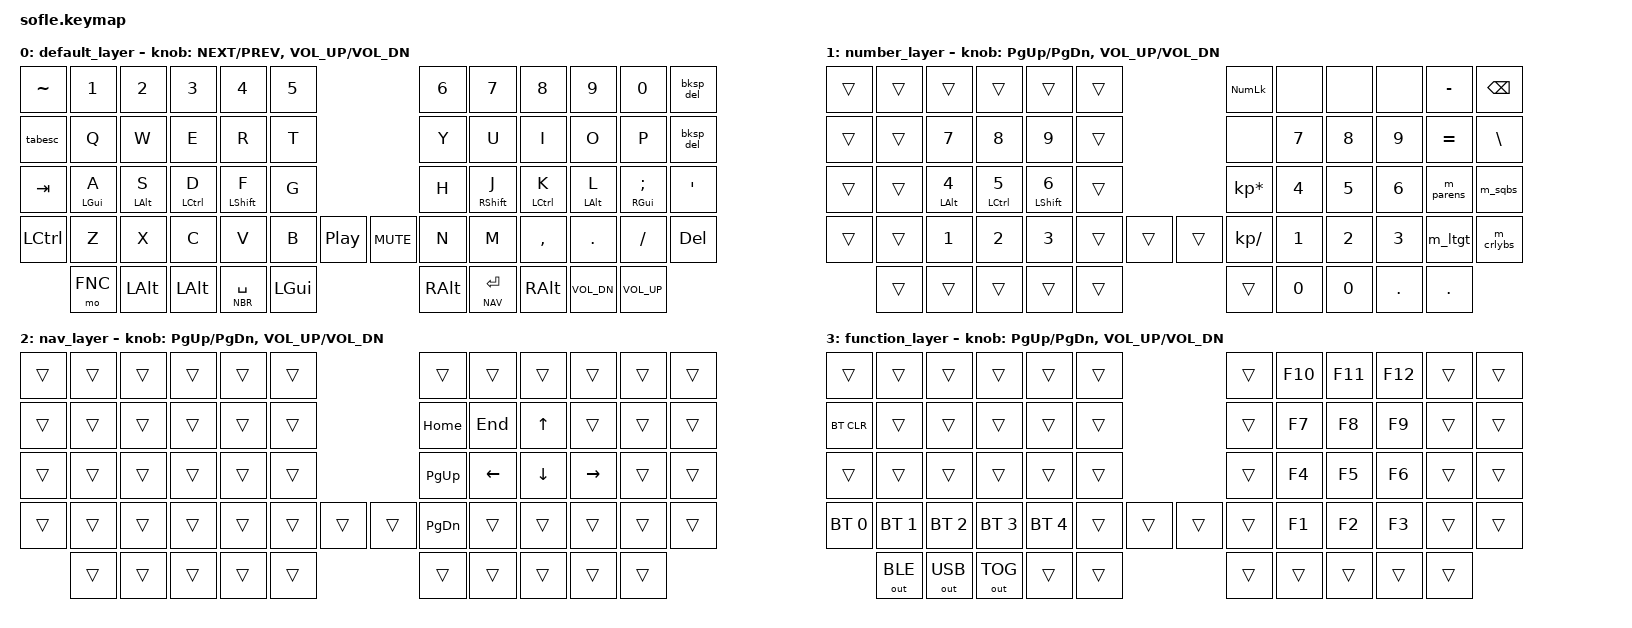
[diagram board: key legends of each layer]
/*
 * Copyright (c) 2022 The ZMK Contributors
 *
 * SPDX-License-Identifier: MIT
 */

#include <behaviors.dtsi>
#include <dt-bindings/zmk/keys.h>
#include <dt-bindings/zmk/bt.h>
#include <dt-bindings/zmk/outputs.h>
#include <behaviors/num_word.dtsi>

#define DEF 0
#define NBR 1
#define NAV 2
#define FNC 3

#define KEYS_L 0 1 3 4 5 12 13 14 15 16 17 24 25 26 27 28 29 36 37 38 39 40 41 42
#define KEYS_R 6 7 8 9 10 11 18 19 20 21 22 23 30 31 32 33 34 35 43 44 45 46 47 48 49
#define KEYS_T 50 51 52 53 54 55 56 57 58 59
#define KEYS_SH 0 2 5 25 26 27 28 

#define HM_TAPPING_TERM 150
#define HM_TAPPING_TERM_FAST 100
#define HM_PRIOR_IDLE 150


/ {
	behaviors {

		td_cw: tap_dance_cw {
            compatible = "zmk,behavior-tap-dance";
            #binding-cells = <0>;
            tapping-term-ms = <200>;
            bindings = <&mt LSHIFT &caps_word>, <&kp CAPS>;
        };	
		
		tabesc: tab_escape {
            compatible = "zmk,behavior-mod-morph";
            #binding-cells = <0>;
            bindings = <&kp TAB>, <&kp ESC>;
            mods = <(MOD_LSFT|MOD_RSFT)>;
        };
		
		bksp_del: bksp_del {
            compatible = "zmk,behavior-mod-morph";
            #binding-cells = <0>;
            bindings = <&kp BKSP>, <&kp DEL>;
            mods = <(MOD_LSFT|MOD_RSFT)>;
        };

        // Positional Homerow mods
        // Homerow mods that prevent accidental activations when rolling keys,
        // such as when typing `st` or `ne` on colemak-dh layouts or `as` on
        // qwerty.
        //
        // Works by only allowing a mod to activate within tapping-term if
        // it's on the opposite side of the keyboard or on the same side thumb
        // keys.

        // Further optimization using urob's timerless homerow mods method:
        // https://github.com/urob/zmk-config#timeless-homerow-mods

        hm_l: homerow_mods_left {
            compatible = "zmk,behavior-hold-tap";
            #binding-cells = <2>;
            bindings = <&kp>,  <&kp>;

            flavor = "tap-preferred";
            tapping-term-ms = <HM_TAPPING_TERM>;
            quick-tap-ms = <175>;                // repeat on tap-into-hold
            require-prior-idle-ms = <HM_PRIOR_IDLE>;

            hold-trigger-key-positions = <KEYS_R KEYS_T KEYS_SH 14>;
            hold-trigger-on-release;
        };

        hm_r: homerow_mods_right {
            compatible = "zmk,behavior-hold-tap";
            #binding-cells = <2>;
            bindings = <&kp>, <&kp>;

            flavor = "balanced";
            tapping-term-ms = <HM_TAPPING_TERM>;
            quick-tap-ms = <175>;
            require-prior-idle-ms = <HM_PRIOR_IDLE>;

            hold-trigger-key-positions = <KEYS_L KEYS_T>;
            hold-trigger-on-release;
        };


        // Positional Homerow mods for shift
        // Use faster tapping term and disable some features that may
        // cause false negatives.

        hm_shift_l: hm_shift_l {
            compatible = "zmk,behavior-hold-tap";
            #binding-cells = <2>;
            bindings = <&kp>, <&kp>;

            flavor = "balanced";
            tapping-term-ms = <HM_TAPPING_TERM_FAST>;
            quick-tap-ms = <175>;
            require-prior-idle-ms = <HM_PRIOR_IDLE>;

            hold-trigger-key-positions = <KEYS_R KEYS_T>;
            // hold-trigger-on-release;
        };

        hm_shift_r: hm_shift_r {
            compatible = "zmk,behavior-hold-tap";
            #binding-cells = <2>;
            bindings = <&kp>, <&kp>;

            flavor = "balanced";
            tapping-term-ms = <HM_TAPPING_TERM_FAST>;
            quick-tap-ms = <175>;
            require-prior-idle-ms = <HM_PRIOR_IDLE>;

            hold-trigger-key-positions = <KEYS_L KEYS_T>;
            // hold-trigger-on-release;
        };

        /*
         * Non-Positional Homerow Mods
         * Used for &mm_grescm_gui behavior on left hand.
         *
         * Usage: &hm LSHFT T
         * Tap: T
         * Tap-Tap-Hold: Repeat T
         * Hold: LSHIFT
         */

        hm: homerow_mods {
            compatible = "zmk,behavior-hold-tap";
            #binding-cells = <2>;
            bindings = <&kp>, <&kp>;

            flavor = "balanced";
            tapping-term-ms = <HM_TAPPING_TERM>;
            quick-tap-ms = <200>;
        };
    };
	
	macros {
        m_ctrl_bcps: m_ctrl_bcps {
            compatible = "zmk,behavior-macro";
            #binding-cells = <0>;
            bindings
                = <&macro_press &kp LCTRL>
                , <&macro_tap &kp BSPC>
                , <&macro_release &kp LCTRL>
				;
        };
		
		m_parens: m_parens {
            compatible = "zmk,behavior-macro";
            #binding-cells = <0>;
            bindings
                = <&macro_tap &kp LPAR>
                , <&macro_tap &kp RPAR>
                , <&macro_tap &kp LEFT>				
				;
        };
		
		m_crlybs: m_crlybs {
            compatible = "zmk,behavior-macro";
            #binding-cells = <0>;
            bindings
                = <&macro_tap &kp LBRC>
                , <&macro_tap &kp RBRC>
                , <&macro_tap &kp LEFT>
				;
        };
		
		m_sqbs: m_sqbs {
            compatible = "zmk,behavior-macro";
            #binding-cells = <0>;
            bindings
                = <&macro_tap &kp LBKT>
                , <&macro_tap &kp RBKT>
                , <&macro_tap &kp LEFT>
				;
        };
		
		m_ltgt: m_ltbt {
            compatible = "zmk,behavior-macro";
            #binding-cells = <0>;
            bindings
                = <&macro_tap &kp LT>
                , <&macro_tap &kp GT>
                , <&macro_tap &kp LEFT>
				;
        };
		
		m_dqt: m_dqt {
            compatible = "zmk,behavior-macro";
            #binding-cells = <0>;
            bindings
                = <&macro_tap &kp DQT>
                , <&macro_tap &kp DQT>
                , <&macro_tap &kp LEFT>
				;
        };
    };
	
	combos {
        compatible = "zmk,combos";
		
		combo_caps {
			timeout-ms = <50>; // Detection window in milliseconds
            key-positions = <28 31>; // Positions of the keys in the matrix
            bindings = <&caps_word>; // Output when combo is triggered
        };

        combo_ctrl_bspc {
            timeout-ms = <50>; // Detection window in milliseconds
            key-positions = <22 23>; // Positions of the keys in the matrix
            bindings = <&kp LC(BSPC)>; // Output when combo is triggered
        };
		
		combo_soft_off {
            timeout-ms = <25>; // Detection window in milliseconds
            key-positions = <50 59>; // Positions of the keys in the matrix
            bindings = <&soft_off>; // Output when combo is triggered
        };
		
		combo_tilde {
            timeout-ms = <25>; // Detection window in milliseconds
            key-positions = <0 1>; // Positions of the keys in the matrix
            bindings = <&kp TILDE>; // Output when combo is triggered
        };
		
		combo_excl {
            timeout-ms = <25>; // Detection window in milliseconds
            key-positions = <12 13>; // Positions of the keys in the matrix
            bindings = <&kp EXCL>; // Output when combo is triggered
        };
		
		combo_at {
            timeout-ms = <25>; // Detection window in milliseconds
            key-positions = <13 14>; // Positions of the keys in the matrix
            bindings = <&kp AT>; // Output when combo is triggered
        };
		
		combo_hash {
            timeout-ms = <25>; // Detection window in milliseconds
            key-positions = <14 15>; // Positions of the keys in the matrix
            bindings = <&kp HASH>; // Output when combo is triggered
        };
		
		combo_dollar {
            timeout-ms = <25>; // Detection window in milliseconds
            key-positions = <15 16>; // Positions of the keys in the matrix
            bindings = <&kp DOLLAR>; // Output when combo is triggered
        };
		
		combo_perc {
            timeout-ms = <25>; // Detection window in milliseconds
            key-positions = <16 17>; // Positions of the keys in the matrix
            bindings = <&kp PERCENT>; // Output when combo is triggered
        };
		
		combo_caret {
            timeout-ms = <25>; // Detection window in milliseconds
            key-positions = <17 18>; // Positions of the keys in the matrix
            bindings = <&kp CARET>; // Output when combo is triggered
        };
		
		combo_amps {
            timeout-ms = <50>; // Detection window in milliseconds
            key-positions = <18 19>; // Positions of the keys in the matrix
            bindings = <&kp AMPS>; // Output when combo is triggered
        };
		
		combo_star {
            timeout-ms = <25>; // Detection window in milliseconds
            key-positions = <19 20>; // Positions of the keys in the matrix
            bindings = <&kp STAR>; // Output when combo is triggered
        };
		
		combo_lpar {
            timeout-ms = <25>; // Detection window in milliseconds
            key-positions = <20 21>; // Positions of the keys in the matrix
            bindings = <&kp LPAR>; // Output when combo is triggered
        };
		
		combo_rpar {
            timeout-ms = <25>; // Detection window in milliseconds
            key-positions = <21 22>; // Positions of the keys in the matrix
            bindings = <&kp RPAR>; // Output when combo is triggered
        };
		
		combo_bootloaderL {
            timeout-ms = <25>; // Detection window in milliseconds
            key-positions = <0 12 24 36>; // Positions of the keys in the matrix
            bindings = <&bootloader>; // Output when combo is triggered
        };

        combo_bootloaderR {
            timeout-ms = <25>; // Detection window in milliseconds
            key-positions = <11 23 35 49>; // Positions of the keys in the matrix
            bindings = <&bootloader>; // Output when combo is triggered
        };
				
		combo_leftpar {
            timeout-ms = <50>; // Detection window in milliseconds
            key-positions = <21 22>; // Positions of the keys in the matrix
            bindings = <&kp LPAR>; // Output when combo is triggered
        };
				
		combo_rightpar {
            timeout-ms = <50>; // Detection window in milliseconds
            key-positions = <22 23>; // Positions of the keys in the matrix
            bindings = <&kp RPAR>; // Output when combo is triggered
        };
		
		combo_leftbrc {
            timeout-ms = <50>; // Detection window in milliseconds
            key-positions = <33 34>; // Positions of the keys in the matrix
            bindings = <&kp LBRC>; // Output when combo is triggered
        };
		
		combo_rightbrc {
            timeout-ms = <50>; // Detection window in milliseconds
            key-positions = <34 35>; // Positions of the keys in the matrix
            bindings = <&kp RBRC>; // Output when combo is triggered
        };
		
		combo_leftbrk {
            timeout-ms = <50>; // Detection window in milliseconds
            key-positions = <45 46>; // Positions of the keys in the matrix
            bindings = <&kp LBKT>; // Output when combo is triggered
        };
		
		combo_rightbrk {
            timeout-ms = <50>; // Detection window in milliseconds
            key-positions = <46 47>; // Positions of the keys in the matrix
            bindings = <&kp RBKT>; // Output when combo is triggered
        };
    };
	
    keymap {
        compatible = "zmk,keymap";

        default_layer {
            bindings = <
                &kp TILDE   &kp N1         &kp N2         &kp N3          &kp N4                  &kp N5                     &kp N6          &kp N7                  &kp N8           &kp N9        &kp N0            &bksp_del
                &tabesc     &kp Q          &kp W          &kp E           &kp R       	          &kp T                 	 &kp Y     	     &kp U                   &kp I            &kp O         &kp P       	  &bksp_del
                &kp TAB     &hm_l LGUI A   &hm_l LALT S   &hm_l LCTRL D   &hm_shift_l LSHIFT F    &kp G   	                 &kp H           &hm_shift_r RSHIFT J    &hm_r LCTRL K    &hm_r LALT L  &hm_r RGUI SEMI   &kp SQT
                &kp LCTRL   &kp Z          &kp X          &kp C           &kp V      	          &kp B &kp C_PP &kp C_MUTE  &kp N     	     &kp M                   &kp COMMA        &kp DOT  	    &kp SLASH  	      &kp DEL
                            &mo FNC           &kp LALT          &kp LALT     &lt NBR SPACE           &kp LGUI                   &kp RALT           &lt NAV ENTER           &kp RALT         &kp C_VOL_DN  &kp C_VOL_UP      
            >;
             sensor-bindings = <&inc_dec_kp C_NEXT C_PREV &inc_dec_kp C_VOL_UP C_VOL_DN >;
        };

        number_layer {
            bindings = <
                &trans      &trans      &trans         &trans          &trans                  &trans                      &kp KP_NUM      &none    &none    &none    &kp MINUS      &kp BSPC
                &trans      &trans      &kp N7         &kp N8          &kp N9                  &trans                      &none           &kp N7   &kp N8   &kp N9   &kp EQUAL      &kp BSLH
                &trans      &trans      &hm_l LALT N4  &hm_l LCTRL N5  &hm_shift_l LSHIFT N6   &trans                      &kp KP_ASTERISK &kp N4   &kp N5   &kp N6   &m_parens      &m_sqbs
                &trans      &trans      &kp N1         &kp N2          &kp N3           	   &trans   &trans &trans      &kp KP_SLASH    &kp N1   &kp N2   &kp N3   &m_ltgt        &m_crlybs
                            &trans      &trans         &trans          &trans      			   &trans                      &trans          &kp N0   &kp N0   &kp DOT  &kp DOT           
			>;
             sensor-bindings = <&inc_dec_kp PG_UP PG_DN &inc_dec_kp C_VOL_UP C_VOL_DN >;
        };

        nav_layer {
            bindings = <
                &trans  &trans  &trans  &trans  &trans  &trans                 &trans     &trans    &trans    &trans     &trans   &trans
				&trans  &trans  &trans  &trans  &trans  &trans                 &kp HOME   &kp END   &kp UP    &trans     &trans   &trans
				&trans  &trans  &trans  &trans  &trans  &trans                 &kp PG_UP  &kp LEFT  &kp DOWN  &kp RIGHT  &trans   &trans
				&trans  &trans  &trans  &trans  &trans  &trans  &trans &trans  &kp PG_DN  &trans    &trans    &trans     &trans   &trans
				        &trans  &trans  &trans  &trans  &trans                 &trans     &trans    &trans    &trans     &trans  
            >;
             sensor-bindings = <&inc_dec_kp PG_UP PG_DN &inc_dec_kp C_VOL_UP C_VOL_DN >;
        };

        function_layer {
            bindings = <
                &trans        &trans        &trans          &trans          &trans                       &trans          &trans      &kp F10     &kp F11     &kp F12   &trans      &trans
                &bt BT_CLR    &trans        &trans          &trans          &trans                       &trans          &trans      &kp F7      &kp F8      &kp F9    &trans      &trans 
                &trans        &trans        &trans          &trans          &trans                       &trans          &trans      &kp F4      &kp F5      &kp F6    &trans      &trans 
                &bt BT_SEL 0  &bt BT_SEL 1  &bt BT_SEL 2    &bt BT_SEL 3    &bt BT_SEL 4 &trans &trans   &trans  		 &trans      &kp F1      &kp F2      &kp F3    &trans      &trans
                              &out OUT_BLE  &out OUT_USB    &out OUT_TOG    &trans          &trans       &trans          &trans      &trans      &trans      &trans
            >;

            sensor-bindings = <&inc_dec_kp PG_UP PG_DN &inc_dec_kp C_VOL_UP C_VOL_DN >;
        };
    };
};
